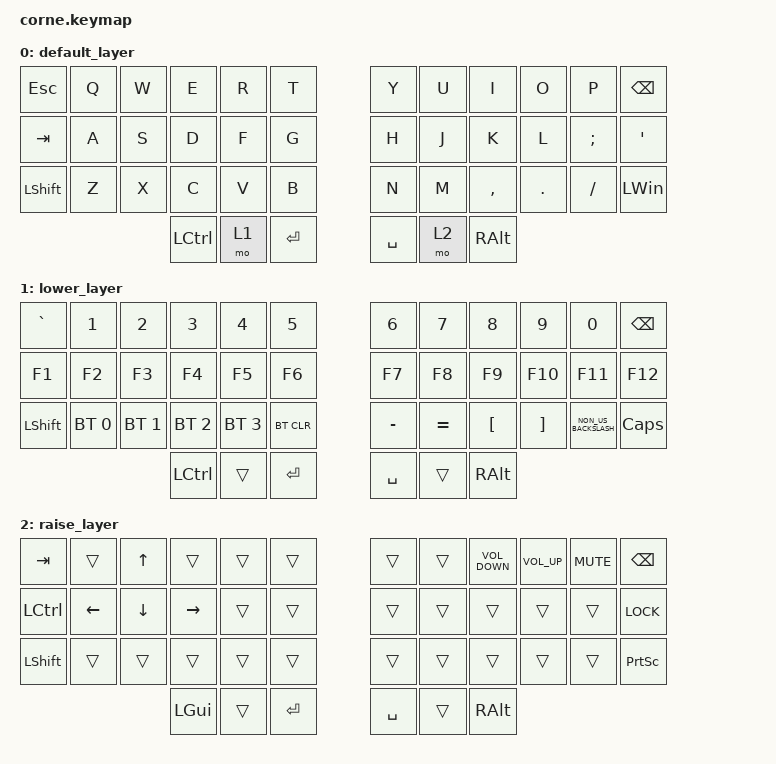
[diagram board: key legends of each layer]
/*
 * Copyright (c) 2020 The ZMK Contributors
 *
 * SPDX-License-Identifier: MIT
 */

#include <behaviors.dtsi>
#include <dt-bindings/zmk/bt.h>
#include <dt-bindings/zmk/keys.h>

/ {
    keymap {
        compatible = "zmk,keymap";

        default_layer {
            // -----------------------------------------------------------------------------------------
            // |  TAB |  Q  |  W  |  E  |  R  |  T  |   |  Y  |  U   |  I  |  O  |  P  | BKSP |
            // | CTRL |  A  |  S  |  D  |  F  |  G  |   |  H  |  J   |  K  |  L  |  ;  |  '   |
            // | SHFT |  Z  |  X  |  C  |  V  |  B  |   |  N  |  M   |  ,  |  .  |  /  | ESC  |
            //                    | GUI | LWR | SPC |   | ENT | RSE  | ALT |

            bindings = <
&kp ESCAPE  &kp Q  &kp W  &kp E             &kp R  &kp T        &kp Y      &kp U  &kp I      &kp O    &kp P     &kp BSPC
&kp TAB     &kp A  &kp S  &kp D             &kp F  &kp G        &kp H      &kp J  &kp K      &kp L    &kp SEMI  &kp SQT
&kp LSHFT   &kp Z  &kp X  &kp C             &kp V  &kp B        &kp N      &kp M  &kp COMMA  &kp DOT  &kp FSLH  &kp LEFT_WIN
                          &kp LEFT_CONTROL  &mo 1  &kp ENTER    &kp SPACE  &mo 2  &kp RALT
            >;
        };

        lower_layer {
            // -----------------------------------------------------------------------------------------
            // |  TAB |  1  |  2  |  3  |  4  |  5  |   |  6  |  7  |  8  |  9  |  0  | BKSP |
            // | BTCLR| BT1 | BT2 | BT3 | BT4 | BT5 |   | LFT | DWN |  UP | RGT |     |      |
            // | SHFT |     |     |     |     |     |   |     |     |     |     |     |      |
            //                    | GUI |     | SPC |   | ENT |     | ALT |

            bindings = <
&kp GRAVE  &kp N1        &kp N2        &kp N3            &kp N4        &kp N5        &kp N6     &kp N7     &kp N8            &kp N9             &kp N0                &kp BSPC
&kp F1     &kp F2        &kp F3        &kp F4            &kp F5        &kp F6        &kp F7     &kp F8     &kp F9            &kp F10            &kp F11               &kp F12
&kp LSHFT  &bt BT_SEL 0  &bt BT_SEL 1  &bt BT_SEL 2      &bt BT_SEL 3  &bt BT_CLR    &kp MINUS  &kp EQUAL  &kp LEFT_BRACKET  &kp RIGHT_BRACKET  &kp NON_US_BACKSLASH  &kp CAPS
                                       &kp LEFT_CONTROL  &trans        &kp ENTER     &kp SPACE  &trans     &kp RALT
            >;
        };

        raise_layer {
            // -----------------------------------------------------------------------------------------
            // |  TAB |  !  |  @  |  #  |  $  |  %  |   |  ^  |  &  |  *  |  (  |  )  | BKSP |
            // | CTRL |     |     |     |     |     |   |  -  |  =  |  [  |  ]  |  \  |  `   |
            // | SHFT |     |     |     |     |     |   |  _  |  +  |  {  |  }  | "|" |  ~   |
            //                    | GUI |     | SPC |   | ENT |     | ALT |

            bindings = <
&kp TAB    &trans          &kp UP_ARROW    &trans           &trans  &trans       &trans     &trans  &kp C_VOLUME_DOWN  &kp C_VOL_UP  &kp K_MUTE  &kp BSPC
&kp LCTRL  &kp LEFT_ARROW  &kp DOWN_ARROW  &kp RIGHT_ARROW  &trans  &trans       &trans     &trans  &trans             &trans        &trans      &kp K_LOCK
&kp LSHFT  &trans          &trans          &trans           &trans  &trans       &trans     &trans  &trans             &trans        &trans      &kp PRINTSCREEN
                                           &kp LGUI         &trans  &kp ENTER    &kp SPACE  &trans  &kp RALT
            >;
        };
    };
};
